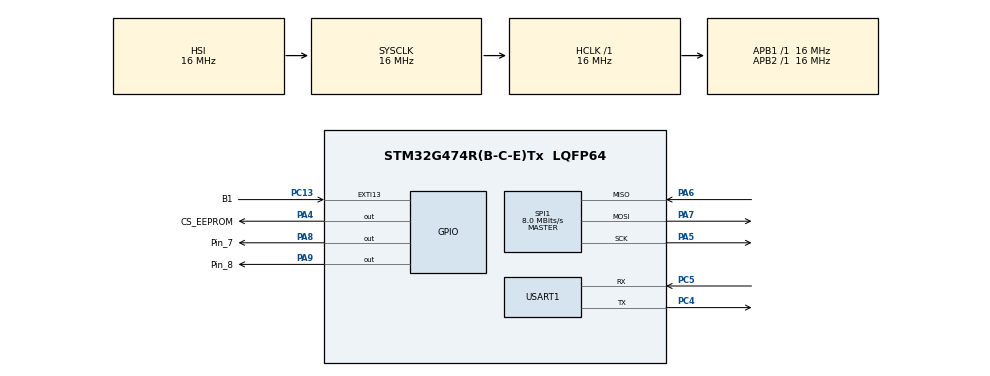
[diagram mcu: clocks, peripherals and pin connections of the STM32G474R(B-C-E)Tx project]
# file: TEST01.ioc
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Mcu.Family=STM32G4
Mcu.Name=STM32G474R(B-C-E)Tx
Mcu.Package=LQFP64
NVIC.EXTI15_10_IRQn=true\:0\:0\:false\:false\:true\:true\:true
NVIC.PriorityGroup=NVIC_PRIORITYGROUP_4
PA4.GPIO_Label=CS_EEPROM
PA4.Signal=GPIO_Output
PA5.Mode=Full_Duplex_Master
PA5.Signal=SPI1_SCK
PA6.Mode=Full_Duplex_Master
PA6.Signal=SPI1_MISO
PA7.Mode=Full_Duplex_Master
PA7.Signal=SPI1_MOSI
PA8.GPIO_Label=Pin_7
PA8.Signal=GPIO_Output
PA9.GPIO_Label=Pin_8
PA9.Signal=GPIO_Output
PC13.GPIO_Label=B1
PC13.GPIO_PuPd=GPIO_PULLUP
PC13.Signal=GPXTI13
PC4.Mode=Asynchronous
PC4.Signal=USART1_TX
PC5.Mode=Asynchronous
PC5.Signal=USART1_RX
ProjectManager.HeapSize=0x200
ProjectManager.StackSize=0x400
ProjectManager.TargetToolchain=STM32CubeIDE
RCC.AHBFreq_Value=16000000
RCC.APB1Freq_Value=16000000
RCC.APB1TimFreq_Value=16000000
RCC.APB2Freq_Value=16000000
RCC.APB2TimFreq_Value=16000000
RCC.CortexFreq_Value=16000000
RCC.EXTERNAL_CLOCK_VALUE=12288000
RCC.HCLKFreq_Value=16000000
RCC.HSE_VALUE=8000000
RCC.HSI48_VALUE=48000000
RCC.HSI_VALUE=16000000
RCC.LSE_VALUE=32768
RCC.SYSCLKFreq_VALUE=16000000
RCC.USBFreq_Value=64000000
RCC.VCOOutputFreq_Value=128000000
SPI1.CalculateBaudRate=8.0 MBits/s
SPI1.Direction=SPI_DIRECTION_2LINES
SPI1.Mode=SPI_MODE_MASTER
SPI1.VirtualType=VM_MASTER
USART1.VirtualMode-Asynchronous=VM_ASYNC
VP_RTC_VS_RTC_Activate.Mode=RTC_Enabled
board=custom

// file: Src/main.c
/* USER CODE BEGIN Header */
/**
  ******************************************************************************
  * @file           : main.c
  * @brief          : Main program body
  ******************************************************************************
  * @attention
  *
  * <h2><center>&copy; Copyright (c) 2019 STMicroelectronics.
  * All rights reserved.</center></h2>
  *
  * This software component is licensed by ST under BSD 3-Clause license,
  * the "License"; You may not use this file except in compliance with the
  * License. You may obtain a copy of the License at:
  *                        opensource.org/licenses/BSD-3-Clause
  *
  ******************************************************************************
  */
/* USER CODE END Header */

#include "main.h"
#include "rtc.h"
#include "spi.h"
#include "usart.h"
#include "gpio.h"

/* USER CODE BEGIN Includes */
#include "stm32g4xx_hal_pwr.h"
#include "stdio.h"
#include "string.h"

/* USER CODE END Includes */

/* USER CODE BEGIN PV */
int contOn = 0, contOff = 0, contInit, contInitView = 0, contOnView = 0, contOffView = 0;
uint8_t dadoOut[256];

/* USER CODE END PV */

void SystemClock_Config(void);
/* USER CODE BEGIN PFP */
void writeMemo(uint8_t date, uint16_t adress, int i);
uint8_t readMemo(uint16_t adress,int i);
void EXTI15_10_IRQHandler(void);
/* USER CODE END PFP */

int main(void)
{

  /* MCU Configuration--------------------------------------------------------*/

  /* Reset of all peripherals, Initializes the Flash interface and the Systick. */
  HAL_Init();

  /* Configure the system clock */
  SystemClock_Config();

  /* Initialize all configured peripherals */
  MX_GPIO_Init();
  MX_RTC_Init();
  MX_SPI1_Init();
  MX_USART1_UART_Init();
  /* USER CODE BEGIN 2 */
	contInitView = readMemo(0,4);
	contInit++;
    writeMemo(contInit,0,4);
  /* USER CODE END 2 */

  /* Infinite loop */
  while (1)
  {

    /* USER CODE BEGIN 3 */
	  HAL_GPIO_WritePin(GPIOA,Pin_7_Pin, SET);
	  HAL_GPIO_WritePin(GPIOA,Pin_8_Pin, RESET);
	  contOn++;
	  writeMemo(contOn,5,4);
	  HAL_Delay(1000);
	  HAL_GPIO_WritePin(GPIOA,Pin_7_Pin, RESET);
	  HAL_GPIO_WritePin(GPIOA,Pin_8_Pin, SET);
	  contOff++;
	  writeMemo(contOff,9,4);
	  HAL_Delay(1000);

  }
  /* USER CODE END 3 */
}

void SystemClock_Config(void)
{
  RCC_OscInitTypeDef RCC_OscInitStruct = {0};
  RCC_ClkInitTypeDef RCC_ClkInitStruct = {0};
  RCC_PeriphCLKInitTypeDef PeriphClkInit = {0};

  /** Configure the main internal regulator output voltage
  */
  HAL_PWREx_ControlVoltageScaling(PWR_REGULATOR_VOLTAGE_SCALE1);
  /** Initializes the CPU, AHB and APB busses clocks
  */
  RCC_OscInitStruct.OscillatorType = RCC_OSCILLATORTYPE_HSI|RCC_OSCILLATORTYPE_LSI;
  RCC_OscInitStruct.HSIState = RCC_HSI_ON;
  RCC_OscInitStruct.HSICalibrationValue = RCC_HSICALIBRATION_DEFAULT;
  RCC_OscInitStruct.LSIState = RCC_LSI_ON;
  RCC_OscInitStruct.PLL.PLLState = RCC_PLL_NONE;
  if (HAL_RCC_OscConfig(&RCC_OscInitStruct) != HAL_OK)
  {
    Error_Handler();
  }
  /** Initializes the CPU, AHB and APB busses clocks
  */
  RCC_ClkInitStruct.ClockType = RCC_CLOCKTYPE_HCLK|RCC_CLOCKTYPE_SYSCLK
                              |RCC_CLOCKTYPE_PCLK1|RCC_CLOCKTYPE_PCLK2;
  RCC_ClkInitStruct.SYSCLKSource = RCC_SYSCLKSOURCE_HSI;
  RCC_ClkInitStruct.AHBCLKDivider = RCC_SYSCLK_DIV1;
  RCC_ClkInitStruct.APB1CLKDivider = RCC_HCLK_DIV1;
  RCC_ClkInitStruct.APB2CLKDivider = RCC_HCLK_DIV1;

  if (HAL_RCC_ClockConfig(&RCC_ClkInitStruct, FLASH_LATENCY_0) != HAL_OK)
  {
    Error_Handler();
  }
  /** Initializes the peripherals clocks
  */
  PeriphClkInit.PeriphClockSelection = RCC_PERIPHCLK_RTC|RCC_PERIPHCLK_USART1;
  PeriphClkInit.Usart1ClockSelection = RCC_USART1CLKSOURCE_PCLK2;
  PeriphClkInit.RTCClockSelection = RCC_RTCCLKSOURCE_LSI;
  if (HAL_RCCEx_PeriphCLKConfig(&PeriphClkInit) != HAL_OK)
  {
    Error_Handler();
  }
}

/* USER CODE BEGIN 4 */
void HAL_GPIO_EXTI_Callback(uint16_t GPIO_Pin)
{
    if ( GPIO_Pin == B1_Pin)
    {
    	  if(HAL_GPIO_ReadPin(GPIOA,B1_Pin) == 0)
    	  {
    	  	  while(HAL_GPIO_ReadPin(GPIOA,B1_Pin) == 0);
    	  	  contInitView = readMemo(0,4);
    	  	  uint8_t bufferOut1[10];
    	  	  sprintf(bufferOut1,"%d",contInitView);
    	  	  HAL_UART_Transmit(&huart1,bufferOut1,10,1);
    	  	  contOnView = readMemo(5,4);
    	  	  uint8_t bufferOut2[10];
    	  	  sprintf(bufferOut2,"%d",contOnView);
    	  	  HAL_UART_Transmit(&huart1,bufferOut2,10,1);
    	  	  contOffView = readMemo(9,4);
    	  	  uint8_t bufferOut3[10];
    	  	  sprintf(bufferOut3,"%d",contOffView);
    	  	  HAL_UART_Transmit(&huart1,bufferOut3,10,1);
    	  }
    }
}
void writeMemo(uint8_t date, uint16_t adress, int i)
{
	   uint8_t bufferOut[4];
	   uint8_t dado;

		 dado = 0x00 & dado;
		 dado = 0x06 | dado; //EnableWrite

	   bufferOut[0] = dado;
	   bufferOut[1] = adress >> 8;
	   bufferOut[2] = adress;

	   GPIOA->BSRR = (uint32_t)CS_EEPROM_Pin << 16U;//desliga o cs1
	   HAL_SPI_Transmit(&hspi1,bufferOut, 3, 1);
	   HAL_Delay(1);
		 GPIOA->BSRR = CS_EEPROM_Pin;//liga o cs1

	   dado = 0x00 & dado;
		 dado = 0x02 | dado;  //comando para escrita
	   bufferOut[0] = dado;

	   bufferOut[3] = date;
	   GPIOA->BSRR = (uint32_t)CS_EEPROM_Pin << 16U;//desliga o cs1
		 HAL_SPI_Transmit(&hspi1,bufferOut, 4, 1);
		 HAL_Delay(1);
		 GPIOA->BSRR = CS_EEPROM_Pin;//liga o cs1
		 dadoOut[i] = bufferOut[3];

}
uint8_t readMemo(uint16_t adress,int i)
{
	   HAL_Delay(1);
	   uint8_t bufferOut[4];
	   uint8_t dado;
       uint8_t resposta[2];
	   dado = 0x00 & dado;
	   dado = 0x03 | dado;  //comando para leitura
	   bufferOut[0] = dado;
	   bufferOut[1] = adress >> 8;
	   bufferOut[2] = adress;
	   GPIOA->BSRR = (uint32_t)CS_EEPROM_Pin << 16U;//desliga o cs1
	   HAL_SPI_Transmit(&hspi1,bufferOut, 3, 1);
	   HAL_SPI_Receive(&hspi1,&bufferOut[3],1,1);
	   GPIOA->BSRR = CS_EEPROM_Pin;//liga o cs1
	   resposta[0] = bufferOut[3];
	   dadoOut[i] = resposta[0];
	   return dadoOut[i];
}
/* USER CODE END 4 */

void Error_Handler(void)
{
}

/************************ (C) COPYRIGHT STMicroelectronics *****END OF FILE****/
